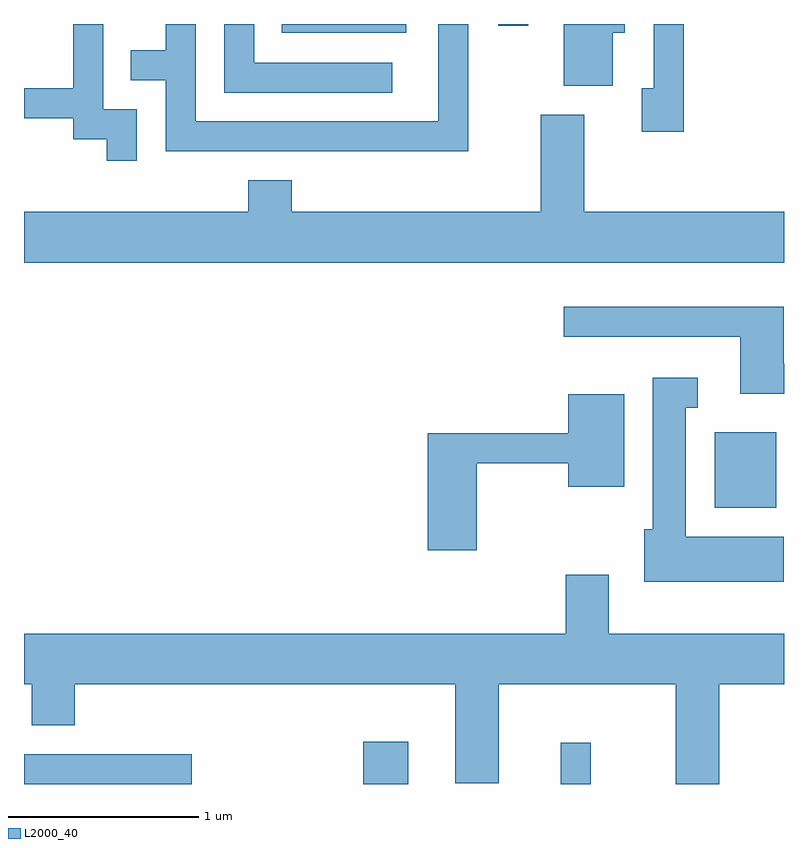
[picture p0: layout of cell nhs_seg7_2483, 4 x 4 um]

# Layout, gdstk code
import gdstk
lib = gdstk.Library(unit=1e-6, precision=1e-09)
def R(c, l, rs):  # rectangles x0, y0, x1, y1
    for r in rs: c.add(gdstk.rectangle(r[:2], r[2:], *l))
def P(c, l, *ps):  # polygons
    for p in ps: c.add(gdstk.Polygon(p, *l))
L2000_40 = (2000, 40)

nhs_seg7_2483 = lib.new_cell('nhs_seg7_2483')
R(nhs_seg7_2483, L2000_40, [(261.611,1698.252,262.494,1698.409), (263.396,1698.252,263.634,1698.474), (264.436,1698.252,264.594,1698.468), (265.246,1699.706,265.569,1700.104), (262.968,1702.206,263.624,1702.252), (264.106,1702.243,264.264,1702.252)])
P(nhs_seg7_2483, L2000_40, [(263.949,1702.252),(263.791,1702.252),(263.791,1701.739),(262.514,1701.739),(262.514,1702.252),(262.356,1702.252),(262.356,1702.114),(262.173,1702.114),(262.173,1701.956),(262.356,1701.956),(262.356,1701.581),(263.949,1701.581)],
  [(262.204,1701.804),(262.029,1701.804),(262.029,1702.252),(261.871,1702.252),(261.871,1701.914),(261.611,1701.914),(261.611,1701.756),(261.871,1701.756),(261.871,1701.646),(262.046,1701.646),(262.046,1701.533),(262.204,1701.533)],
  [(264.709,1702.206),(264.774,1702.206),(264.774,1702.252),(264.451,1702.252),(264.451,1701.926),(264.709,1701.926)],
  [(263.548,1702.049),(262.824,1702.049),(262.824,1702.252),(262.666,1702.252),(262.666,1701.891),(263.548,1701.891)],
  [(265.084,1702.252),(264.926,1702.252),(264.926,1701.914),(264.861,1701.914),(264.861,1701.686),(265.084,1701.686)],
  [(265.611,1701.264),(264.559,1701.264),(264.559,1701.774),(264.331,1701.774),(264.331,1701.264),(263.019,1701.264),(263.019,1701.429),(262.791,1701.429),(262.791,1701.264),(261.611,1701.264),(261.611,1700.996),(265.611,1700.996)],
  [(265.611,1700.464),(265.609,1700.464),(265.609,1700.764),(264.453,1700.764),(264.453,1700.606),(265.381,1700.606),(265.381,1700.306),(265.611,1700.306)],
  [(265.609,1699.554),(265.094,1699.554),(265.094,1700.231),(265.158,1700.231),(265.158,1700.389),(264.921,1700.389),(264.921,1699.594),(264.876,1699.594),(264.876,1699.316),(265.609,1699.316)],
  [(263.994,1699.941),(264.476,1699.941),(264.476,1699.816),(264.769,1699.816),(264.769,1700.304),(264.476,1700.304),(264.476,1700.099),(263.736,1700.099),(263.736,1699.481),(263.994,1699.481)],
  [(265.269,1698.776),(265.611,1698.776),(265.611,1699.044),(264.689,1699.044),(264.689,1699.354),(264.461,1699.354),(264.461,1699.044),(261.611,1699.044),(261.611,1698.776),(261.651,1698.776),(261.651,1698.561),(261.879,1698.561),(261.879,1698.776),(263.881,1698.776),(263.881,1698.256),(264.109,1698.256),(264.109,1698.776),(265.041,1698.776),(265.041,1698.252),(265.269,1698.252)])

lib.write_gds('nhs_seg7_2483.gds')
